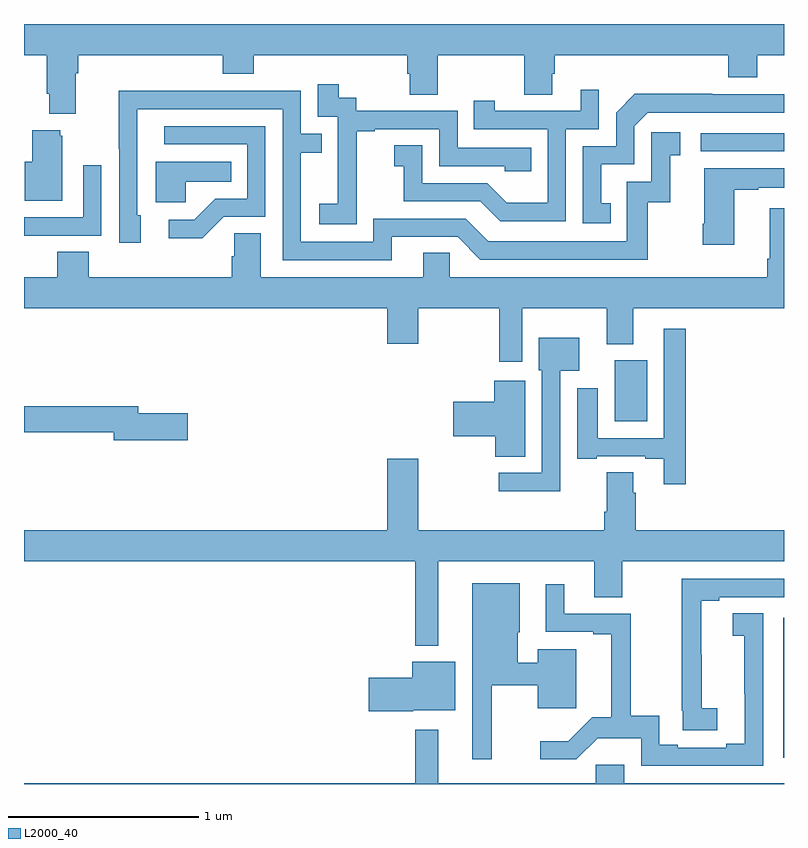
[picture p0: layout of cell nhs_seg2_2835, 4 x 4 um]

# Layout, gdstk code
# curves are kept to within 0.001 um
import gdstk
lib = gdstk.Library(unit=1e-6, precision=1e-09)
def R(c, l, rs):  # rectangles x0, y0, x1, y1
    for r in rs: c.add(gdstk.rectangle(r[:2], r[2:], *l))
def P(c, l, *ps):  # polygons
    for p in ps: c.add(gdstk.Polygon(p, *l))
L2000_40 = (2000, 40)

nhs_seg2_2835 = lib.new_cell('nhs_seg2_2835')
R(nhs_seg2_2835, L2000_40, [(262.997,643.937,263,644.674), (262.109,645.71,262.279,646.03), (262.563,647.13,263,647.226)])
P(nhs_seg2_2835, L2000_40, [(261.634,647.428),(261.781,647.428),(261.781,647.538),(261.794,647.538),(261.794,647.636),(262.706,647.636),(262.706,647.519),(262.858,647.519),(262.858,647.636),(263,647.636),(263,647.8),(259,647.8),(259,647.636),(259.121,647.636),(259.121,647.434),(259.133,647.434),(259.133,647.327),(259.273,647.327),(259.273,647.54),(259.286,647.54),(259.286,647.636),(260.045,647.636),(260.045,647.537),(260.21,647.537),(260.21,647.636),(261.017,647.636),(261.017,647.538),(261.029,647.538),(261.029,647.428),(261.177,647.428),(261.177,647.636),(261.634,647.636)],
  [(260.751,646.951),(260.75,646.951),(260.75,647.235),(260.845,647.235),(260.845,647.247),(261.186,647.247),(261.186,647.052),(261.531,647.052),(261.531,647.025),(261.671,647.025),(261.671,647.148),(261.282,647.148),(261.282,647.343),(260.748,647.343),(260.748,647.412),(260.656,647.412),(260.656,647.482),(260.547,647.482),(260.547,647.313),(260.652,647.313),(260.652,647.084),(260.651,647.084),(260.651,646.855),(260.553,646.855),(260.553,646.745),(260.751,646.745)],
  [(261.852,647.247),(262.026,647.247),(262.026,647.455),(261.929,647.455),(261.929,647.343),(261.478,647.343),(261.478,647.395),(261.367,647.395),(261.367,647.247),(261.756,647.247),(261.756,646.858),(261.542,646.858),(261.438,646.962),(261.096,646.962),(261.096,647.161),(260.949,647.161),(260.949,647.051),(260.998,647.051),(260.998,646.866),(261.401,646.866),(261.506,646.761),(261.852,646.761)],
  [(260.935,646.68),(261.282,646.68),(261.402,646.56),(262.282,646.56),(262.282,646.863),(262.4,646.863),(262.4,647.109),(262.453,647.109),(262.453,647.23),(262.302,647.23),(262.302,646.971),(262.173,646.971),(262.173,646.656),(261.444,646.656),(261.324,646.776),(260.838,646.776),(260.838,646.653),(260.457,646.653),(260.457,647.122),(260.567,647.122),(260.567,647.223),(260.457,647.223),(260.457,647.448),(259.961,647.448),(259.961,647.45),(259.498,647.45),(259.498,647.143),(259.5,647.143),(259.5,646.65),(259.615,646.65),(259.615,646.794),(259.596,646.794),(259.597,647.352),(260.361,647.352),(260.361,646.557),(260.935,646.557)],
  [(262.088,646.857),(262.039,646.857),(262.039,647.061),(262.212,647.061),(262.212,647.262),(262.284,647.334),(263,647.334),(263,647.43),(262.622,647.43),(262.622,647.432),(262.214,647.432),(262.116,647.334),(262.116,647.157),(261.942,647.157),(261.942,646.752),(262.088,646.752)],
  [(260.005,646.738),(260.052,646.785),(260.271,646.785),(260.271,647.262),(259.737,647.262),(259.737,647.166),(260.175,647.166),(260.175,646.881),(260.006,646.881),(259.895,646.77),(259.761,646.77),(259.761,646.673),(259.939,646.673)],
  [(259.201,647.211),(259.19,647.211),(259.19,647.242),(259.043,647.242),(259.043,647.074),(259.004,647.074),(259.004,646.871),(259.201,646.871)],
  [(259.851,646.97),(260.09,646.97),(260.09,647.074),(259.694,647.074),(259.694,646.862),(259.851,646.862)],
  [(259.091,646.686),(259.407,646.686),(259.407,647.056),(259.311,647.056),(259.311,646.782),(259,646.782),(259,646.685),(259.091,646.685)],
  [(262.738,646.927),(262.865,646.927),(262.865,646.937),(263,646.937),(263,647.041),(262.58,647.041),(262.58,646.75),(262.573,646.75),(262.573,646.638),(262.738,646.638)],
  [(261.622,646.304),(262.067,646.304),(262.067,646.115),(262.207,646.115),(262.207,646.304),(263,646.304),(263,646.831),(262.925,646.831),(262.925,646.564),(262.913,646.564),(262.913,646.468),(261.24,646.468),(261.24,646.595),(261.101,646.595),(261.101,646.468),(260.245,646.468),(260.245,646.7),(260.106,646.7),(260.106,646.577),(260.093,646.577),(260.093,646.468),(259.34,646.468),(259.34,646.601),(259.175,646.601),(259.175,646.468),(259,646.468),(259,646.304),(260.912,646.304),(260.912,646.116),(261.076,646.116),(261.076,646.304),(261.502,646.304),(261.502,646.023),(261.622,646.023)],
  [(262.484,646.195),(262.368,646.195),(262.368,645.621),(262.021,645.621),(262.021,645.883),(261.911,645.883),(261.911,645.513),(262.015,645.513),(262.015,645.525),(262.271,645.525),(262.271,645.513),(262.367,645.513),(262.367,645.378),(262.484,645.378)],
  [(261.822,645.974),(261.922,645.974),(261.922,646.15),(261.71,646.15),(261.71,645.978),(261.726,645.978),(261.726,645.438),(261.498,645.438),(261.498,645.341),(261.822,645.341)],
  [(261.637,645.922),(261.476,645.922),(261.476,645.812),(261.258,645.812),(261.258,645.629),(261.481,645.629),(261.481,645.523),(261.637,645.523)],
  [(259.861,645.752),(259.6,645.752),(259.6,645.788),(259,645.788),(259,645.652),(259.472,645.652),(259.472,645.61),(259.861,645.61)],
  [(261.181,644.972),(262.001,644.972),(262.001,644.782),(262.149,644.782),(262.149,644.972),(263,644.972),(263,645.136),(262.22,645.136),(262.22,645.332),(262.207,645.332),(262.207,645.44),(262.067,645.44),(262.067,645.232),(262.055,645.232),(262.055,645.136),(261.076,645.136),(261.076,645.511),(260.912,645.511),(260.912,645.136),(259,645.136),(259,644.972),(261.06,644.972),(261.06,644.528),(261.181,644.528)],
  [(262.648,644.198),(262.566,644.198),(262.566,644.481),(262.564,644.481),(262.564,644.764),(262.66,644.764),(262.66,644.784),(263,644.784),(263,644.88),(262.462,644.88),(262.462,644.185),(262.468,644.185),(262.468,644.083),(262.648,644.083)],
  [(261.463,644.32),(261.704,644.32),(261.704,644.199),(261.907,644.199),(261.907,644.509),(261.704,644.509),(261.704,644.437),(261.598,644.437),(261.598,644.598),(261.61,644.598),(261.61,644.857),(261.359,644.857),(261.359,643.929),(261.463,643.929)],
  [(262.89,644.699),(262.731,644.699),(262.731,644.579),(262.792,644.579),(262.793,644.012),(262.697,644.012),(262.697,643.992),(262.441,643.992),(262.441,644.006),(262.344,644.006),(262.344,644.159),(262.193,644.159),(262.193,644.697),(261.844,644.697),(261.844,644.851),(261.746,644.851),(261.746,644.601),(261.995,644.601),(261.995,644.589),(262.091,644.589),(262.091,644.152),(261.991,644.152),(261.865,644.026),(261.717,644.026),(261.717,643.929),(261.906,643.929),(262.019,644.042),(262.248,644.042),(262.248,643.896),(262.89,643.896)],
  [(261.048,644.189),(261.271,644.189),(261.271,644.443),(261.044,644.443),(261.044,644.36),(260.814,644.36),(260.814,644.182),(261.048,644.182)],
  [(263,643.804),(262.159,643.804),(262.159,643.902),(262.008,643.902),(262.008,643.804),(261.181,643.804),(261.181,644.086),(261.06,644.086),(261.06,643.804),(259,643.804),(259,643.8),(263,643.8)])

lib.write_gds('nhs_seg2_2835.gds')
